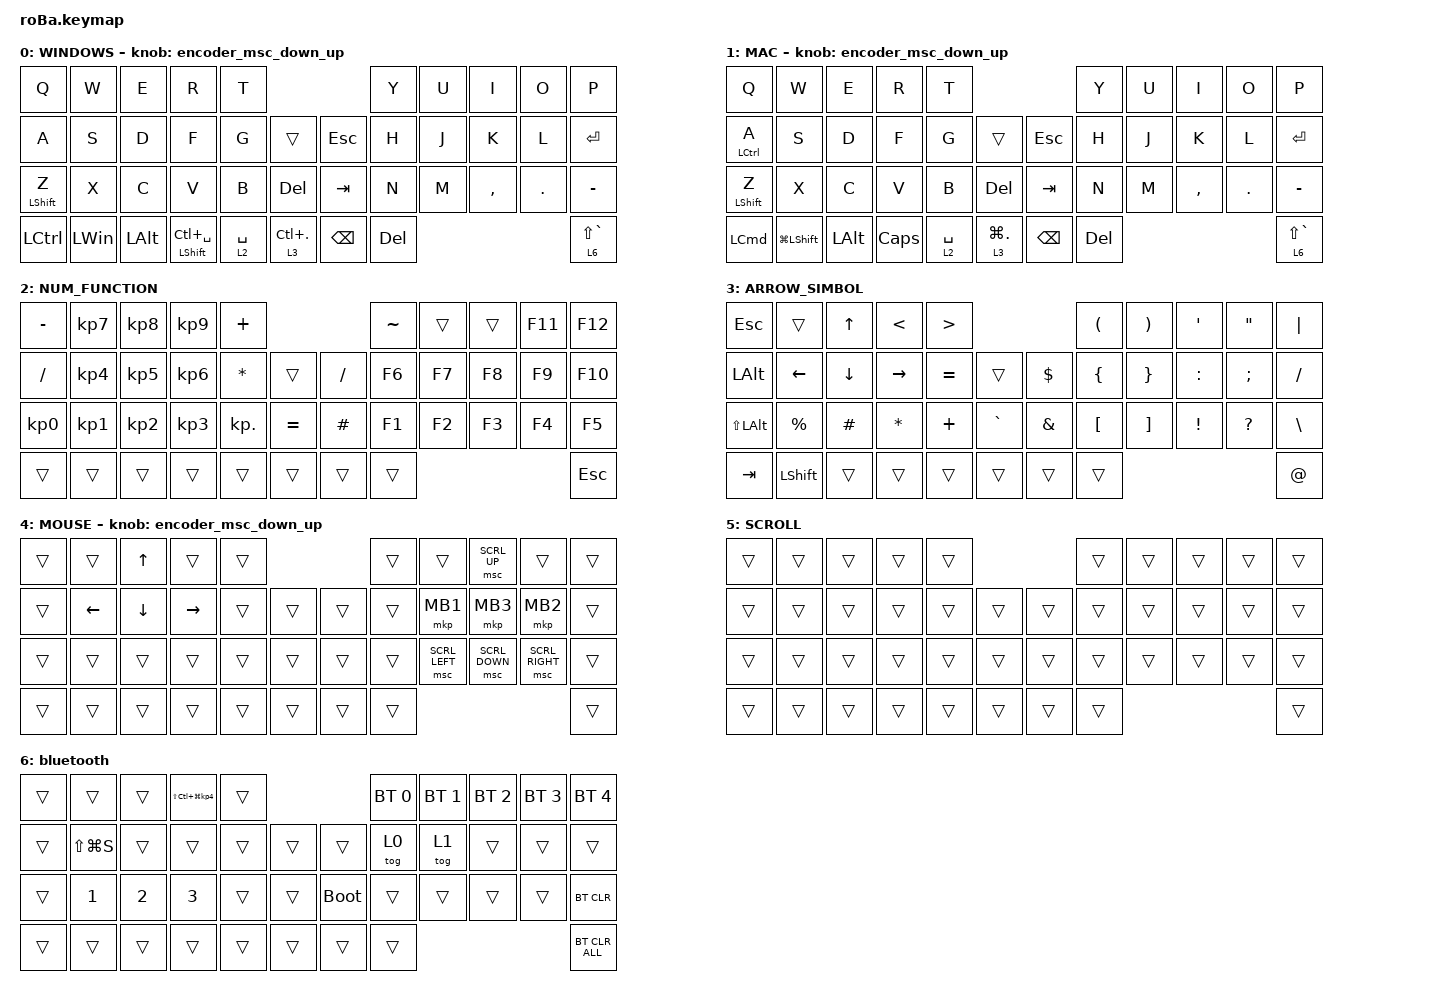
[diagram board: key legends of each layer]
#include <behaviors.dtsi>
#include <dt-bindings/zmk/bt.h>
#include <dt-bindings/zmk/keys.h>
#include <dt-bindings/zmk/pointing.h>

#define ZMK_POINTING_DEFAULT_SCRL_VAL 100

&mt {
    flavor = "balanced";
    quick-tap-ms = <0>;
};

&trackball {
    automouse-layer = <4>;
    scroll-layers = <5>;

    // arrows {
    //     layers = <3>;
    //     bindings =
    //         <&kp RIGHT_ARROW>,
    //         <&kp LEFT_ARROW>,
    //         <&kp UP_ARROW>,
    //         <&kp DOWN_ARROW>;
    //     tick = <10>;
    //     wait-ms = <5>;
    //     tap-ms = <5>;
    // };
};

/ {
    combos {
        compatible = "zmk,combos";

        tab {
            bindings = <&kp TAB>;
            key-positions = <11 12>;
        };

        shift_tab {
            bindings = <&kp LS(TAB)>;
            key-positions = <12 13>;
        };

        muhennkann {
            bindings = <&to_layer_0 INT_MUHENKAN>;
            key-positions = <11 10>;
        };

        double_quotation {
            bindings = <&kp DOUBLE_QUOTES>;
            key-positions = <20 21>;
        };

        eq {
            bindings = <&kp EQUAL>;
            key-positions = <24 25>;
        };
    };

    macros {
        to_layer_0: to_layer_0 {
            compatible = "zmk,behavior-macro-one-param";
            #binding-cells = <1>;
            bindings = <&to 0 &macro_param_1to1 &kp MACRO_PLACEHOLDER>;
            label = "TO_LAYER_0";
        };
    };

    behaviors {
        lt_to_layer_0: lt_to_layer_0 {
            compatible = "zmk,behavior-hold-tap";
            label = "LAYER_TAP_TO_0";
            bindings = <&mo>, <&to_layer_0>;

            #binding-cells = <2>;
            tapping-term-ms = <200>;
        };

        encoder_msc_down_up: encoder_msc_down_up {
            compatible = "zmk,behavior-sensor-rotate";
            label = "ENCODER_MSC_DOWN_UP";
            #sensor-binding-cells = <0>;
            bindings = <&msc SCRL_DOWN>, <&msc SCRL_UP>;

            tap-ms = <20>;
        };
    };

    keymap {
        compatible = "zmk,keymap";

        WINDOWS {
            bindings = <
&kp Q             &kp W         &kp E         &kp R                     &kp T                                             &kp Y    &kp U  &kp I      &kp O    &kp P
&kp A             &kp S         &kp D         &kp F                     &kp G        &trans                &kp ESC        &kp H    &kp J  &kp K      &kp L    &kp RETURN
&mt LEFT_SHIFT Z  &kp X         &kp C         &kp V                     &kp B        &kp DELETE            &kp TAB        &kp N    &kp M  &kp COMMA  &kp DOT  &kp MINUS
&kp LEFT_CONTROL  &kp LEFT_WIN  &kp LEFT_ALT  &mt LEFT_SHIFT LC(SPACE)  &lt 2 SPACE  &lt 3 LC(PERIOD)      &kp BACKSPACE  &kp DEL                             &lt 6 LS(GRAVE)
            >;

            sensor-bindings = <&encoder_msc_down_up>;
        };

        MAC {
            bindings = <
&kp Q               &kp W               &kp E         &kp R         &kp T                                             &kp Y    &kp U  &kp I      &kp O    &kp P
&mt LEFT_CONTROL A  &kp S               &kp D         &kp F         &kp G        &trans                &kp ESC        &kp H    &kp J  &kp K      &kp L    &kp RETURN
&mt LEFT_SHIFT Z    &kp X               &kp C         &kp V         &kp B        &kp DEL               &kp TAB        &kp N    &kp M  &kp COMMA  &kp DOT  &kp MINUS
&kp LEFT_COMMAND    &kp LG(LEFT_SHIFT)  &kp LEFT_ALT  &kp CAPSLOCK  &lt 2 SPACE  &lt 3 LG(PERIOD)      &kp BACKSPACE  &kp DEL                             &lt 6 LS(GRAVE)
            >;

            sensor-bindings = <&encoder_msc_down_up>;
        };

        NUM_FUNCTION {
            bindings = <
&kp MINUS        &kp KP_NUMBER_7  &kp KP_NUMBER_8  &kp KP_NUMBER_9  &kp PLUS                                &kp TILDE  &trans  &trans  &kp F11  &kp F12
&kp SLASH        &kp KP_NUMBER_4  &kp KP_NUMBER_5  &kp KP_NUMBER_6  &kp ASTERISK  &trans         &kp SLASH  &kp F6     &kp F7  &kp F8  &kp F9   &kp F10
&kp KP_NUMBER_0  &kp KP_NUMBER_1  &kp KP_NUMBER_2  &kp KP_NUMBER_3  &kp KP_DOT    &kp EQUAL      &kp HASH   &kp F1     &kp F2  &kp F3  &kp F4   &kp F5
&trans           &trans           &trans           &trans           &trans        &trans         &trans     &trans                              &kp ESC
            >;
        };

        ARROW_SIMBOL {
            bindings = <
&kp ESCAPE        &trans          &kp UP_ARROW    &kp LESS_THAN    &kp GREATER_THAN                                &kp LEFT_PARENTHESIS  &kp RIGHT_PARENTHESIS  &kp SINGLE_QUOTE  &kp DQT       &kp PIPE
&kp LEFT_ALT      &kp LEFT_ARROW  &kp DOWN_ARROW  &kp RIGHT_ARROW  &kp EQUAL         &trans         &kp DLLR       &kp LBRC              &kp RBRC               &kp COLON         &kp SEMI      &kp SLASH
&kp LS(LEFT_ALT)  &kp PRCNT       &kp HASH        &kp ASTERISK     &kp PLUS          &kp GRAVE      &kp AMPERSAND  &kp LEFT_BRACKET      &kp RIGHT_BRACKET      &kp EXCLAMATION   &kp QUESTION  &kp BACKSLASH
&kp TAB           &kp LEFT_SHIFT  &trans          &trans           &trans            &trans         &trans         &trans                                                                       &kp AT_SIGN
            >;
        };

        MOUSE {
            bindings = <
&trans  &trans    &kp UP_ARROW    &trans           &trans                      &trans  &trans          &msc SCRL_UP    &trans           &trans
&trans  &kp LEFT  &kp DOWN_ARROW  &kp RIGHT_ARROW  &trans  &trans      &trans  &trans  &mkp MB1        &mkp MB3        &mkp MB2         &trans
&trans  &trans    &trans          &trans           &trans  &trans      &trans  &trans  &msc SCRL_LEFT  &msc SCRL_DOWN  &msc SCRL_RIGHT  &trans
&trans  &trans    &trans          &trans           &trans  &trans      &trans  &trans                                                   &trans
            >;

            sensor-bindings = <&encoder_msc_down_up>;
        };

        SCROLL {
            bindings = <
&trans  &trans  &trans  &trans  &trans                      &trans  &trans  &trans  &trans  &trans
&trans  &trans  &trans  &trans  &trans  &trans      &trans  &trans  &trans  &trans  &trans  &trans
&trans  &trans  &trans  &trans  &trans  &trans      &trans  &trans  &trans  &trans  &trans  &trans
&trans  &trans  &trans  &trans  &trans  &trans      &trans  &trans                          &trans
            >;
        };

        bluetooth {
            bindings = <
&trans  &trans         &trans        &kp LS(LC(LG(KP_NUMBER_4)))  &trans                           &bt BT_SEL 0  &bt BT_SEL 1  &bt BT_SEL 2  &bt BT_SEL 3  &bt BT_SEL 4
&trans  &kp LS(LG(S))  &trans        &trans                       &trans  &trans      &trans       &tog 0        &tog 1        &trans        &trans        &trans
&trans  &kp NUMBER_1   &kp NUMBER_2  &kp NUMBER_3                 &trans  &trans      &bootloader  &trans        &trans        &trans        &trans        &bt BT_CLR
&trans  &trans         &trans        &trans                       &trans  &trans      &trans       &trans                                                  &bt BT_CLR_ALL
            >;
        };
    };
};
